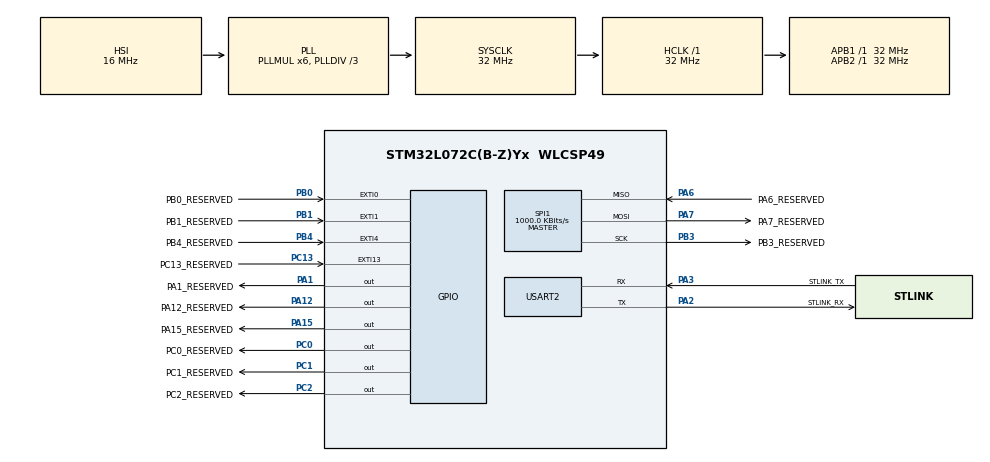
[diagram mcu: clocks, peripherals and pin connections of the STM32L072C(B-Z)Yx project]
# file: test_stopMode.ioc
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Mcu.Family=STM32L0
Mcu.Name=STM32L072C(B-Z)Yx
Mcu.Package=WLCSP49
NVIC.EXTI0_1_IRQn=true\:0\:0\:false\:false\:true\:true\:true
NVIC.EXTI4_15_IRQn=true\:0\:0\:false\:false\:true\:true\:true
NVIC.RTC_IRQn=true\:0\:0\:false\:false\:true\:true\:true
NVIC.USART2_IRQn=true\:0\:0\:false\:false\:true\:true\:true
PA1.GPIO_Label=PA1_RESERVED
PA1.GPIO_Speed=GPIO_SPEED_FREQ_HIGH
PA1.PinState=GPIO_PIN_RESET
PA1.Signal=GPIO_Output
PA12.GPIO_Label=PA12_RESERVED
PA12.GPIO_Speed=GPIO_SPEED_FREQ_HIGH
PA12.Signal=GPIO_Output
PA15.GPIO_Label=PA15_RESERVED
PA15.GPIO_Speed=GPIO_SPEED_FREQ_HIGH
PA15.Signal=GPIO_Output
PA2.GPIO_Label=STLINK_RX
PA2.Mode=Asynchronous
PA2.Signal=USART2_TX
PA3.GPIO_Label=STLINK_TX
PA3.Mode=Asynchronous
PA3.Signal=USART2_RX
PA6.GPIO_Label=PA6_RESERVED
PA6.Mode=Full_Duplex_Master
PA6.Signal=SPI1_MISO
PA7.GPIO_Label=PA7_RESERVED
PA7.Mode=Full_Duplex_Master
PA7.Signal=SPI1_MOSI
PB0.GPIO_Label=PB0_RESERVED
PB0.Signal=GPXTI0
PB1.GPIO_Label=PB1_RESERVED
PB1.Signal=GPXTI1
PB3.GPIO_Label=PB3_RESERVED
PB3.Mode=Full_Duplex_Master
PB3.Signal=SPI1_SCK
PB4.GPIO_Label=PB4_RESERVED
PB4.Signal=GPXTI4
PC0.GPIO_Label=PC0_RESERVED
PC0.GPIO_Speed=GPIO_SPEED_FREQ_HIGH
PC0.Signal=GPIO_Output
PC1.GPIO_Label=PC1_RESERVED
PC1.GPIO_Speed=GPIO_SPEED_FREQ_HIGH
PC1.Signal=GPIO_Output
PC13.GPIO_Label=PC13_RESERVED
PC13.Signal=GPXTI13
PC14-OSC32_IN.Mode=LSE-External-Oscillator
PC14-OSC32_IN.Signal=RCC_OSC32_IN
PC15-OSC32_OUT.Mode=LSE-External-Oscillator
PC15-OSC32_OUT.Signal=RCC_OSC32_OUT
PC2.GPIO_Label=PC2_RESERVED
PC2.GPIO_Speed=GPIO_SPEED_FREQ_HIGH
PC2.Signal=GPIO_Output
PH0-OSC_IN.Signal=RCC_OSC_IN
PH1-OSC_OUT.Signal=RCC_OSC_OUT
ProjectManager.HeapSize=0x200
ProjectManager.StackSize=0x400
ProjectManager.TargetToolchain=STM32CubeIDE
RCC.AHBFreq_Value=32000000
RCC.APB1Freq_Value=32000000
RCC.APB1TimFreq_Value=32000000
RCC.APB2Freq_Value=32000000
RCC.APB2TimFreq_Value=32000000
RCC.HCLKFreq_Value=32000000
RCC.HSE_VALUE=8000000
RCC.HSI16_VALUE=16000000
RCC.HSI48_VALUE=48000000
RCC.HSI_VALUE=16000000
RCC.MSI_VALUE=2097000
RCC.PLLDIV=RCC_PLLDIV_3
RCC.PLLMUL=RCC_PLLMUL_6
RCC.RTCClockSelection=RCC_RTCCLKSOURCE_LSE
RCC.SYSCLKFreq_VALUE=32000000
RCC.SYSCLKSource=RCC_SYSCLKSOURCE_PLLCLK
RCC.Usart2ClockSelection=RCC_USART2CLKSOURCE_HSI
RCC.VCOOutputFreq_Value=96000000
RTC.AsynchPrediv=127
RTC.SynchPrediv=255
RTC.WakeUpClock-WakeUp=RTC_WAKEUPCLOCK_CK_SPRE_16BITS
RTC.WakeUpCounter-WakeUp=4
SPI1.BaudRatePrescaler=SPI_BAUDRATEPRESCALER_32
SPI1.CalculateBaudRate=1000.0 KBits/s
SPI1.Direction=SPI_DIRECTION_2LINES
SPI1.Mode=SPI_MODE_MASTER
SPI1.VirtualType=VM_MASTER
USART2.VirtualMode-Asynchronous=VM_ASYNC
VP_RTC_VS_RTC_Activate.Mode=RTC_Enabled
VP_RTC_VS_RTC_WakeUp_intern.Mode=WakeUp
board=B-L072Z-LRWAN1

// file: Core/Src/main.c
/* USER CODE BEGIN Header */
/**
  ******************************************************************************
  * @file           : main.c
  * @brief          : Main program body
  ******************************************************************************
  * @attention
  *
  * <h2><center>&copy; Copyright (c) 2019 STMicroelectronics.
  * All rights reserved.</center></h2>
  *
  * This software component is licensed by ST under BSD 3-Clause license,
  * the "License"; You may not use this file except in compliance with the
  * License. You may obtain a copy of the License at:
  *                        opensource.org/licenses/BSD-3-Clause
  *
  ******************************************************************************
  */
/* USER CODE END Header */

#include "main.h"

RTC_HandleTypeDef hrtc;

SPI_HandleTypeDef hspi1;

UART_HandleTypeDef huart2;

void SystemClock_Config(void);
static void MX_GPIO_Init(void);
static void MX_RTC_Init(void);
static void MX_SPI1_Init(void);
static void MX_USART2_UART_Init(void);
/* USER CODE BEGIN PFP */

void _stm32l_disableGpios() {

   // GPIO_A is preserved to keep output status unchanged and have
   // Interrupt working for waking Up.

   GPIO_InitTypeDef GPIO_InitStruct = {0};
   GPIO_InitStruct.Mode = GPIO_MODE_ANALOG;
   GPIO_InitStruct.Pull = GPIO_NOPULL;

   /*Configure GPIO pins : PA15_RESERVED_Pin PA12_RESERVED_Pin PA1_RESERVED_Pin */
     GPIO_InitStruct.Pin = PA15_RESERVED_Pin|PA12_RESERVED_Pin|PA1_RESERVED_Pin;
     HAL_GPIO_Init(GPIOA, &GPIO_InitStruct);

     /*Configure GPIO pins : PB4_RESERVED_Pin PB1_RESERVED_Pin PB0_RESERVED_Pin */
     GPIO_InitStruct.Pin = PB4_RESERVED_Pin|PB1_RESERVED_Pin|PB0_RESERVED_Pin;
     HAL_GPIO_Init(GPIOB, &GPIO_InitStruct);

     /*Configure GPIO pin : PC13_RESERVED_Pin */
     GPIO_InitStruct.Pin = PC13_RESERVED_Pin;
     HAL_GPIO_Init(PC13_RESERVED_GPIO_Port, &GPIO_InitStruct);

     /*Configure GPIO pins : PC1_RESERVED_Pin PC0_RESERVED_Pin PC2_RESERVED_Pin */
     GPIO_InitStruct.Pin = PC1_RESERVED_Pin|PC0_RESERVED_Pin|PC2_RESERVED_Pin;
     HAL_GPIO_Init(GPIOC, &GPIO_InitStruct);

   __HAL_RCC_GPIOA_CLK_DISABLE();
   	  __HAL_RCC_GPIOB_CLK_DISABLE();
   	  __HAL_RCC_GPIOC_CLK_DISABLE();
   	  __HAL_RCC_GPIOH_CLK_DISABLE();

}

void stm32l_lowPowerSetup () {

	__HAL_RCC_PWR_CLK_ENABLE(); // Enable Power Control clock
	HAL_PWREx_EnableUltraLowPower(); // Ultra low power mode
	HAL_PWREx_EnableFastWakeUp(); // Fast wake-up for ultra low power mode

	// Disable Unused Gpios
	_stm32l_disableGpios(); // Disable GPIOs based on configuration

	// Configure LPUART for Wake-up
	// make sure that no UART transfer is on-going
	while(__HAL_UART_GET_FLAG(&huart2, UART_FLAG_BUSY) == SET);
	// make sure that UART is ready to receive
	while(__HAL_UART_GET_FLAG(&huart2, UART_FLAG_REACK) == RESET);

	UART_WakeUpTypeDef wakeup;
	wakeup.WakeUpEvent=UART_WAKEUP_ON_STARTBIT; // UART_WAKEUP_ON_READDATA_NONEMPTY
	HAL_UARTEx_StopModeWakeUpSourceConfig(&huart2,wakeup);
	__HAL_UART_ENABLE_IT(&huart2, UART_IT_WUF);
	HAL_UARTEx_EnableStopMode(&huart2);

	// GPIO Wake up is configured by CubeMx config and keeping the GPIO activated

	HAL_SuspendTick();
	// Switch to STOPMode
	HAL_PWR_EnterSTOPMode(PWR_LOWPOWERREGULATOR_ON, PWR_STOPENTRY_WFI);

	//uint32_t _time = 10 * 60 * 1.25;
	//HAL_RTCEx_SetWakeUpTimer_IT(&hrtc, _time, RTC_WAKEUPCLOCK_CK_SPRE_16BITS);
}

void stm32l_lowPowerResume () {
	HAL_ResumeTick();
	// Reinit clocks
	SystemClock_Config();
	// Deactivate RTC wakeUp
	//HAL_RTCEx_DeactivateWakeUpTimer(&hrtc);
	// Reinit GPIOs
	MX_GPIO_Init();
	//MX_RTC_Init();

	HAL_UARTEx_DisableStopMode(&huart2);

	// Configure RTC to wake up after 500ms

	// Reinit LPUART
	  MX_SPI1_Init();
	  MX_USART2_UART_Init();
}
/* USER CODE END PFP */

/* USER CODE BEGIN 0 */
uint8_t wakeup = 0;
/* USER CODE END 0 */

int main(void)
{

  /* MCU Configuration--------------------------------------------------------*/

  /* Reset of all peripherals, Initializes the Flash interface and the Systick. */
  HAL_Init();

  /* Configure the system clock */
  SystemClock_Config();

  /* Initialize all configured peripherals */
  MX_GPIO_Init();
  MX_RTC_Init();
  MX_SPI1_Init();
  MX_USART2_UART_Init();

  /* Infinite loop */
  /* USER CODE BEGIN WHILE */
  while (1)
  {
	  HAL_UART_Transmit(&huart2, (uint8_t *)"H", 1, 10);
	  HAL_UART_Transmit(&huart2, &wakeup, 1, 10);
	  wakeup = 0;
	  // HAL_Delay(1000);
	  stm32l_lowPowerSetup();
	      // sleeping
	      stm32l_lowPowerResume();
    /* USER CODE END WHILE */

  }
}

void SystemClock_Config(void)
{
  RCC_OscInitTypeDef RCC_OscInitStruct = {0};
  RCC_ClkInitTypeDef RCC_ClkInitStruct = {0};
  RCC_PeriphCLKInitTypeDef PeriphClkInit = {0};

  /** Configure the main internal regulator output voltage
  */
  __HAL_PWR_VOLTAGESCALING_CONFIG(PWR_REGULATOR_VOLTAGE_SCALE1);
  /** Configure LSE Drive Capability
  */
  HAL_PWR_EnableBkUpAccess();
  __HAL_RCC_LSEDRIVE_CONFIG(RCC_LSEDRIVE_LOW);
  /** Initializes the CPU, AHB and APB busses clocks
  */
  RCC_OscInitStruct.OscillatorType = RCC_OSCILLATORTYPE_HSI|RCC_OSCILLATORTYPE_LSE;
  RCC_OscInitStruct.LSEState = RCC_LSE_ON;
  RCC_OscInitStruct.HSIState = RCC_HSI_ON;
  RCC_OscInitStruct.HSICalibrationValue = RCC_HSICALIBRATION_DEFAULT;
  RCC_OscInitStruct.PLL.PLLState = RCC_PLL_ON;
  RCC_OscInitStruct.PLL.PLLSource = RCC_PLLSOURCE_HSI;
  RCC_OscInitStruct.PLL.PLLMUL = RCC_PLLMUL_6;
  RCC_OscInitStruct.PLL.PLLDIV = RCC_PLLDIV_3;
  if (HAL_RCC_OscConfig(&RCC_OscInitStruct) != HAL_OK)
  {
    Error_Handler();
  }
  /** Initializes the CPU, AHB and APB busses clocks
  */
  RCC_ClkInitStruct.ClockType = RCC_CLOCKTYPE_HCLK|RCC_CLOCKTYPE_SYSCLK
                              |RCC_CLOCKTYPE_PCLK1|RCC_CLOCKTYPE_PCLK2;
  RCC_ClkInitStruct.SYSCLKSource = RCC_SYSCLKSOURCE_PLLCLK;
  RCC_ClkInitStruct.AHBCLKDivider = RCC_SYSCLK_DIV1;
  RCC_ClkInitStruct.APB1CLKDivider = RCC_HCLK_DIV1;
  RCC_ClkInitStruct.APB2CLKDivider = RCC_HCLK_DIV1;

  if (HAL_RCC_ClockConfig(&RCC_ClkInitStruct, FLASH_LATENCY_1) != HAL_OK)
  {
    Error_Handler();
  }
  PeriphClkInit.PeriphClockSelection = RCC_PERIPHCLK_USART2|RCC_PERIPHCLK_RTC;
  PeriphClkInit.Usart2ClockSelection = RCC_USART2CLKSOURCE_HSI;
  PeriphClkInit.RTCClockSelection = RCC_RTCCLKSOURCE_LSE;
  if (HAL_RCCEx_PeriphCLKConfig(&PeriphClkInit) != HAL_OK)
  {
    Error_Handler();
  }
}

static void MX_RTC_Init(void)
{

  /** Initialize RTC Only
  */
  hrtc.Instance = RTC;
  hrtc.Init.HourFormat = RTC_HOURFORMAT_24;
  hrtc.Init.AsynchPrediv = 127;
  hrtc.Init.SynchPrediv = 255;
  hrtc.Init.OutPut = RTC_OUTPUT_DISABLE;
  hrtc.Init.OutPutRemap = RTC_OUTPUT_REMAP_NONE;
  hrtc.Init.OutPutPolarity = RTC_OUTPUT_POLARITY_HIGH;
  hrtc.Init.OutPutType = RTC_OUTPUT_TYPE_OPENDRAIN;
  if (HAL_RTC_Init(&hrtc) != HAL_OK)
  {
    Error_Handler();
  }
  /** Enable the WakeUp
  */
  if (HAL_RTCEx_SetWakeUpTimer_IT(&hrtc, 4, RTC_WAKEUPCLOCK_CK_SPRE_16BITS) != HAL_OK)
  {
    Error_Handler();
  }

}

static void MX_SPI1_Init(void)
{

  /* SPI1 parameter configuration*/
  hspi1.Instance = SPI1;
  hspi1.Init.Mode = SPI_MODE_MASTER;
  hspi1.Init.Direction = SPI_DIRECTION_2LINES;
  hspi1.Init.DataSize = SPI_DATASIZE_8BIT;
  hspi1.Init.CLKPolarity = SPI_POLARITY_LOW;
  hspi1.Init.CLKPhase = SPI_PHASE_1EDGE;
  hspi1.Init.NSS = SPI_NSS_SOFT;
  hspi1.Init.BaudRatePrescaler = SPI_BAUDRATEPRESCALER_32;
  hspi1.Init.FirstBit = SPI_FIRSTBIT_MSB;
  hspi1.Init.TIMode = SPI_TIMODE_DISABLE;
  hspi1.Init.CRCCalculation = SPI_CRCCALCULATION_DISABLE;
  hspi1.Init.CRCPolynomial = 7;
  if (HAL_SPI_Init(&hspi1) != HAL_OK)
  {
    Error_Handler();
  }

}

static void MX_USART2_UART_Init(void)
{

  huart2.Instance = USART2;
  huart2.Init.BaudRate = 115200;
  huart2.Init.WordLength = UART_WORDLENGTH_8B;
  huart2.Init.StopBits = UART_STOPBITS_1;
  huart2.Init.Parity = UART_PARITY_NONE;
  huart2.Init.Mode = UART_MODE_TX_RX;
  huart2.Init.HwFlowCtl = UART_HWCONTROL_NONE;
  huart2.Init.OverSampling = UART_OVERSAMPLING_16;
  huart2.Init.OneBitSampling = UART_ONE_BIT_SAMPLE_DISABLE;
  huart2.AdvancedInit.AdvFeatureInit = UART_ADVFEATURE_NO_INIT;
  if (HAL_UART_Init(&huart2) != HAL_OK)
  {
    Error_Handler();
  }

}

static void MX_GPIO_Init(void)
{
  GPIO_InitTypeDef GPIO_InitStruct = {0};

  /* GPIO Ports Clock Enable */
  __HAL_RCC_GPIOA_CLK_ENABLE();
  __HAL_RCC_GPIOB_CLK_ENABLE();
  __HAL_RCC_GPIOC_CLK_ENABLE();
  __HAL_RCC_GPIOH_CLK_ENABLE();

  /*Configure GPIO pin Output Level */
  HAL_GPIO_WritePin(GPIOA, PA15_RESERVED_Pin|PA12_RESERVED_Pin|PA1_RESERVED_Pin, GPIO_PIN_RESET);

  /*Configure GPIO pin Output Level */
  HAL_GPIO_WritePin(GPIOC, PC1_RESERVED_Pin|PC0_RESERVED_Pin|PC2_RESERVED_Pin, GPIO_PIN_RESET);

  /*Configure GPIO pins : PA15_RESERVED_Pin PA12_RESERVED_Pin PA1_RESERVED_Pin */
  GPIO_InitStruct.Pin = PA15_RESERVED_Pin|PA12_RESERVED_Pin|PA1_RESERVED_Pin;
  GPIO_InitStruct.Mode = GPIO_MODE_OUTPUT_PP;
  GPIO_InitStruct.Pull = GPIO_NOPULL;
  GPIO_InitStruct.Speed = GPIO_SPEED_FREQ_HIGH;
  HAL_GPIO_Init(GPIOA, &GPIO_InitStruct);

  /*Configure GPIO pins : PB4_RESERVED_Pin PB1_RESERVED_Pin PB0_RESERVED_Pin */
  GPIO_InitStruct.Pin = PB4_RESERVED_Pin|PB1_RESERVED_Pin|PB0_RESERVED_Pin;
  GPIO_InitStruct.Mode = GPIO_MODE_IT_RISING;
  GPIO_InitStruct.Pull = GPIO_NOPULL;
  HAL_GPIO_Init(GPIOB, &GPIO_InitStruct);

  /*Configure GPIO pin : PC13_RESERVED_Pin */
  GPIO_InitStruct.Pin = PC13_RESERVED_Pin;
  GPIO_InitStruct.Mode = GPIO_MODE_IT_RISING;
  GPIO_InitStruct.Pull = GPIO_NOPULL;
  HAL_GPIO_Init(PC13_RESERVED_GPIO_Port, &GPIO_InitStruct);

  /*Configure GPIO pins : PC1_RESERVED_Pin PC0_RESERVED_Pin PC2_RESERVED_Pin */
  GPIO_InitStruct.Pin = PC1_RESERVED_Pin|PC0_RESERVED_Pin|PC2_RESERVED_Pin;
  GPIO_InitStruct.Mode = GPIO_MODE_OUTPUT_PP;
  GPIO_InitStruct.Pull = GPIO_NOPULL;
  GPIO_InitStruct.Speed = GPIO_SPEED_FREQ_HIGH;
  HAL_GPIO_Init(GPIOC, &GPIO_InitStruct);

  /* EXTI interrupt init*/
  HAL_NVIC_SetPriority(EXTI0_1_IRQn, 0, 0);
  HAL_NVIC_EnableIRQ(EXTI0_1_IRQn);

  HAL_NVIC_SetPriority(EXTI4_15_IRQn, 0, 0);
  HAL_NVIC_EnableIRQ(EXTI4_15_IRQn);

}

/* USER CODE BEGIN 4 */

void HAL_RTCEx_WakeUpTimerEventCallback(RTC_HandleTypeDef *hrtc)
{
  /* Clear Wake Up Flag */
  __HAL_PWR_CLEAR_FLAG(PWR_FLAG_WU);
  wakeup = 1;
}

void HAL_UARTEx_WakeupCallback(UART_HandleTypeDef *huart)
{
	/* Clear Wake Up Flag */
	  __HAL_PWR_CLEAR_FLAG(PWR_FLAG_WU);
	  wakeup = 2;
}

/* USER CODE END 4 */

void Error_Handler(void)
{
}

/************************ (C) COPYRIGHT STMicroelectronics *****END OF FILE****/
